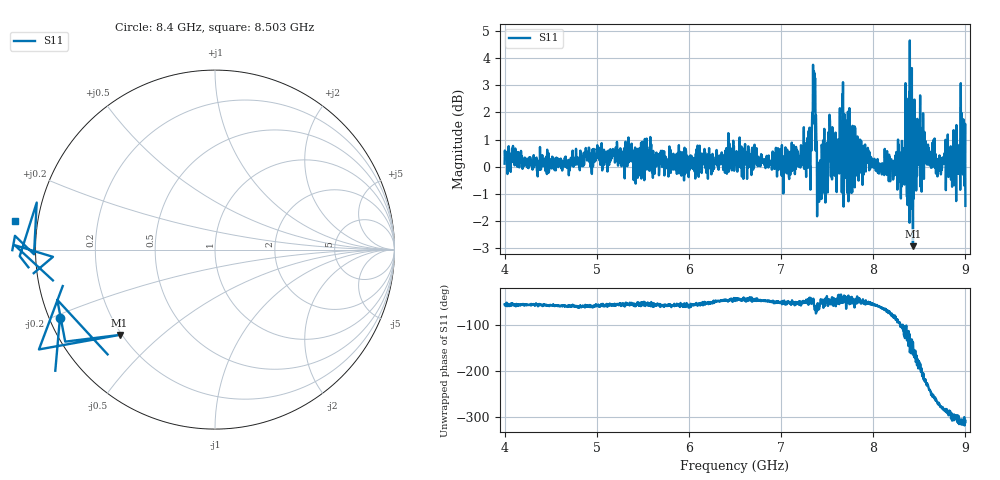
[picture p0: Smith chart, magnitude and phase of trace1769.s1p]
! Created with skrf 1.8.0 (http://scikit-rf.org).
# Hz S RI R 50.0
!freq ReS11 ImS11
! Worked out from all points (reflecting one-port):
!   1601 points, 4 GHz to 9 GHz, reference 50 ohm
!   lowest |S11| = -2.9 dB at 8.431 GHz (marker M1), VSWR 5.98, Z = 9.54 - j18.5 ohm
!   phase of S11 starts at -56 deg and turns -252 deg over the sweep
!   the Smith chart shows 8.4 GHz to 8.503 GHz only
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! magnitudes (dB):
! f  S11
! 4 GHz  0.1
! 4.625 GHz  -0.1
! 5.25 GHz  0.2
! 5.875 GHz  -0.2
! 6.5 GHz  0.5
! 7.125 GHz  0.5
! 7.294 GHz  0.0
! 7.356 GHz  3.5
! 7.412 GHz  -1.3
! 7.497 GHz  -0.4
! 7.512 GHz  1.3
! 7.609 GHz  0.7
! 7.688 GHz  1.9
! 7.703 GHz  1.5
! 7.75 GHz  -0.5
! 7.928 GHz  0.3
! 8.316 GHz  0.3
! 8.334 GHz  0.2
! 8.35 GHz  3.1
! 8.375 GHz  -1.2
! 8.431 GHz  -2.9
! 8.447 GHz  2.5
! 8.459 GHz  -0.7
! 8.522 GHz  1.0
! 8.694 GHz  0.2
! 8.875 GHz  0.3
! 8.972 GHz  0.7
! 9 GHz  -1.4
